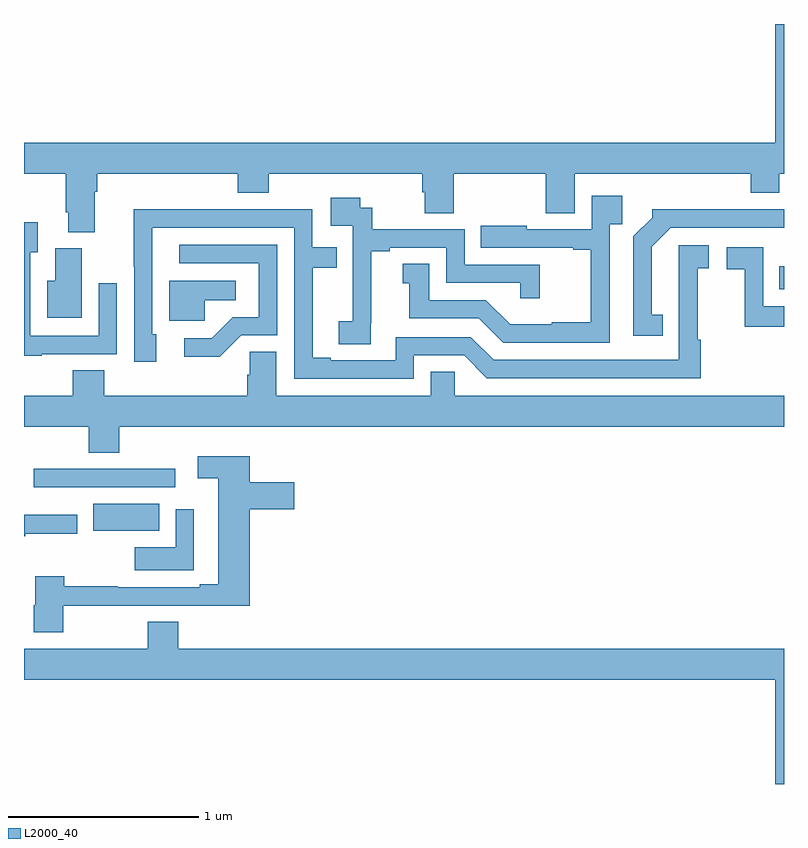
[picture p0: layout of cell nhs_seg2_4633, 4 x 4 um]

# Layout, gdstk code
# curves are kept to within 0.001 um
import gdstk
lib = gdstk.Library(unit=1e-6, precision=1e-09)
def R(c, l, rs):  # rectangles x0, y0, x1, y1
    for r in rs: c.add(gdstk.rectangle(r[:2], r[2:], *l))
def P(c, l, *ps):  # polygons
    for p in ps: c.add(gdstk.Polygon(p, *l))
L2000_40 = (2000, 40)

nhs_seg2_4633 = lib.new_cell('nhs_seg2_4633')
R(nhs_seg2_4633, L2000_40, [(363.364,603.134,363.713,603.274), (366.976,604.403,367,604.525)])
P(nhs_seg2_4633, L2000_40, [(363.373,604.916),(363.386,604.916),(363.386,605.012),(364.124,605.012),(364.124,604.913),(364.289,604.913),(364.289,605.012),(365.096,605.012),(365.096,604.914),(365.108,604.914),(365.108,604.804),(365.261,604.804),(365.261,605.012),(365.747,605.012),(365.747,604.804),(365.899,604.804),(365.899,605.012),(366.824,605.012),(366.824,604.913),(366.976,604.913),(366.976,605.012),(367,605.012),(367,605.8),(366.953,605.8),(366.953,605.176),(363,605.176),(363,605.012),(363.221,605.012),(363.221,604.81),(363.233,604.81),(363.233,604.705),(363.373,604.705)],
  [(366.084,604.745),(366.149,604.745),(366.149,604.897),(365.988,604.897),(365.988,604.719),(365.647,604.719),(365.647,604.738),(365.404,604.738),(365.404,604.623),(365.891,604.623),(365.891,604.611),(365.983,604.611),(365.983,604.231),(365.777,604.231),(365.777,604.219),(365.558,604.219),(365.43,604.347),(365.134,604.347),(365.134,604.538),(364.994,604.538),(364.994,604.435),(365.027,604.435),(365.027,604.251),(365.394,604.251),(365.523,604.122),(366.084,604.122)],
  [(364.826,604.225),(364.828,604.225),(364.828,604.603),(364.924,604.603),(364.924,604.623),(365.223,604.623),(365.223,604.437),(365.613,604.437),(365.613,604.356),(365.714,604.356),(365.714,604.533),(365.319,604.533),(365.319,604.719),(364.832,604.719),(364.832,604.833),(364.77,604.833),(364.77,604.885),(364.614,604.885),(364.614,604.737),(364.731,604.737),(364.731,604.433),(364.73,604.433),(364.73,604.236),(364.656,604.236),(364.656,604.114),(364.826,604.114)],
  [(366.362,604.271),(366.304,604.271),(366.304,604.627),(366.405,604.728),(367,604.728),(367,604.824),(366.74,604.824),(366.74,604.826),(366.306,604.826),(366.306,604.781),(366.207,604.682),(366.207,604.158),(366.362,604.158)],
  [(365.052,604.056),(365.316,604.056),(365.436,603.936),(366.563,603.936),(366.563,604.139),(366.546,604.139),(366.546,604.515),(366.604,604.515),(366.604,604.636),(366.446,604.636),(366.447,604.032),(365.472,604.032),(365.352,604.152),(364.956,604.152),(364.956,604.029),(364.615,604.029),(364.615,604.044),(364.519,604.044),(364.519,604.518),(364.646,604.518),(364.646,604.626),(364.518,604.626),(364.518,604.824),(364.04,604.824),(364.04,604.826),(363.578,604.826),(363.579,604.023),(363.697,604.023),(363.697,604.167),(363.675,604.167),(363.675,604.728),(364.422,604.728),(364.422,603.933),(365.052,603.933)],
  [(363.093,604.062),(363.489,604.062),(363.489,604.435),(363.393,604.435),(363.393,604.158),(363.033,604.158),(363.033,604.6),(363.073,604.6),(363.073,604.756),(363,604.756),(363,604.055),(363.093,604.055)],
  [(364.143,604.161),(364.332,604.161),(364.332,604.638),(363.816,604.638),(363.816,604.542),(364.236,604.542),(364.236,604.257),(364.098,604.257),(363.987,604.146),(363.843,604.146),(363.843,604.049),(364.03,604.049)],
  [(367,604.314),(366.891,604.314),(366.891,604.626),(366.699,604.626),(366.699,604.51),(366.793,604.51),(366.793,604.206),(367,604.206)],
  [(363.304,604.62),(363.164,604.62),(363.164,604.45),(363.122,604.45),(363.122,604.253),(363.304,604.253)],
  [(363.951,604.346),(364.114,604.346),(364.114,604.45),(363.764,604.45),(363.764,604.239),(363.951,604.239)],
  [(363.501,603.68),(367,603.68),(367,603.844),(365.268,603.844),(365.268,603.971),(365.141,603.971),(365.141,603.844),(364.327,603.844),(364.327,604.076),(364.188,604.076),(364.188,603.953),(364.175,603.953),(364.175,603.844),(363.422,603.844),(363.422,603.977),(363.257,603.977),(363.257,603.844),(363,603.844),(363,603.68),(363.341,603.68),(363.341,603.544),(363.501,603.544)],
  [(363.207,602.737),(363.563,602.737),(363.563,602.739),(363.926,602.739),(363.926,602.737),(364.187,602.737),(364.187,603.245),(364.423,603.245),(364.423,603.387),(364.187,603.387),(364.187,603.526),(363.915,603.526),(363.915,603.409),(364.022,603.409),(364.022,602.851),(363.926,602.851),(363.926,602.835),(363.494,602.835),(363.494,602.84),(363.212,602.84),(363.212,602.893),(363.059,602.893),(363.059,602.742),(363.052,602.742),(363.052,602.598),(363.207,602.598)],
  [(363.27,603.363),(363.796,603.363),(363.796,603.459),(363.051,603.459),(363.051,603.362),(363.27,603.362)],
  [(363.894,603.247),(363.798,603.247),(363.798,603.046),(363.582,603.046),(363.582,602.925),(363.894,602.925)],
  [(363.007,603.118),(363.279,603.118),(363.279,603.217),(363,603.217),(363,603.104),(363.007,603.104)],
  [(367,602.512),(363.812,602.512),(363.812,602.654),(363.652,602.654),(363.652,602.512),(363,602.512),(363,602.348),(366.953,602.348),(366.953,601.8),(367,601.8)])

lib.write_gds('nhs_seg2_4633.gds')
